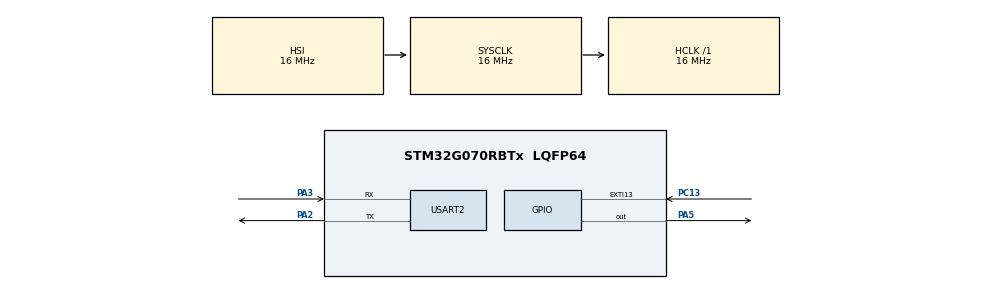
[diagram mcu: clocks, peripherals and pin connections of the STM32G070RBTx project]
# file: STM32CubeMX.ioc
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Dma.Request0=USART2_RX
Dma.USART2_RX.0.Direction=DMA_PERIPH_TO_MEMORY
Dma.USART2_RX.0.EventEnable=DISABLE
Dma.USART2_RX.0.Instance=DMA1_Channel1
Dma.USART2_RX.0.MemDataAlignment=DMA_MDATAALIGN_BYTE
Dma.USART2_RX.0.MemInc=DMA_MINC_ENABLE
Dma.USART2_RX.0.Mode=DMA_CIRCULAR
Dma.USART2_RX.0.PeriphDataAlignment=DMA_PDATAALIGN_BYTE
Dma.USART2_RX.0.PeriphInc=DMA_PINC_DISABLE
Dma.USART2_RX.0.Polarity=HAL_DMAMUX_REQ_GEN_RISING
Dma.USART2_RX.0.Priority=DMA_PRIORITY_LOW
Dma.USART2_RX.0.RequestNumber=1
Dma.USART2_RX.0.SignalID=NONE
Dma.USART2_RX.0.SyncEnable=DISABLE
Dma.USART2_RX.0.SyncPolarity=HAL_DMAMUX_SYNC_NO_EVENT
Dma.USART2_RX.0.SyncRequestNumber=1
Dma.USART2_RX.0.SyncSignalID=NONE
Mcu.Family=STM32G0
Mcu.Name=STM32G070RBTx
Mcu.Package=LQFP64
NVIC.DMA1_Channel1_IRQn=true\:0\:0\:false\:false\:true\:false\:true\:true
NVIC.EXTI4_15_IRQn=true\:1\:0\:true\:false\:true\:true\:true\:true
NVIC.USART2_IRQn=true\:2\:0\:true\:false\:true\:true\:true\:true
PA2.Mode=Asynchronous
PA2.Signal=USART2_TX
PA3.Mode=Asynchronous
PA3.Signal=USART2_RX
PA5.Signal=GPIO_Output
PC13.GPIO_ModeDefaultEXTI=GPIO_MODE_IT_FALLING
PC13.GPIO_PuPd=GPIO_PULLUP
PC13.Signal=GPXTI13
PF0-OSC_IN\ (PF0).Mode=HSE-External-Oscillator
PF0-OSC_IN\ (PF0).Signal=RCC_OSC_IN
PF1-OSC_OUT\ (PF1).Mode=HSE-External-Oscillator
PF1-OSC_OUT\ (PF1).Signal=RCC_OSC_OUT
ProjectManager.HeapSize=0x200
ProjectManager.StackSize=0x400
ProjectManager.TargetToolchain=MDK-ARM V5
RCC.AHBFreq_Value=16000000
RCC.CortexFreq_Value=16000000
RCC.EXTERNAL_CLOCK_VALUE=48000
RCC.HCLKFreq_Value=16000000
RCC.HSE_VALUE=8000000
RCC.HSI_VALUE=16000000
RCC.LSE_VALUE=32768
RCC.SYSCLKFreq_VALUE=16000000
RCC.VCOOutputFreq_Value=128000000
USART2.VirtualMode-Asynchronous=VM_ASYNC
board=custom

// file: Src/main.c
/* USER CODE BEGIN Header */
/**
  ******************************************************************************
  * @file           : main.c
  * @brief          : Main program body
  ******************************************************************************
  * @attention
  *
  * Copyright (c) 2026 STMicroelectronics.
  * All rights reserved.
  *
  * This software is licensed under terms that can be found in the LICENSE file
  * in the root directory of this software component.
  * If no LICENSE file comes with this software, it is provided AS-IS.
  *
  ******************************************************************************
  */
/* USER CODE END Header */
#include "main.h"
#include "dma.h"
#include "usart.h"
#include "gpio.h"

/* USER CODE BEGIN Includes */
#include <stdio.h>

/* USER CODE END Includes */

/* USER CODE BEGIN PV */
typedef enum{
	TASK_IDLE = 0,
	TASK_RUNNING
}TaskState;

uint8_t i = 0;
uint8_t RxBuffer[10];

TaskState keyTaskState = TASK_IDLE;
uint8_t keyBlinkCount = 0;
uint32_t keyLastToggleTick = 0;

TaskState uartTaskState = TASK_IDLE;
uint8_t uartBlinkCount = 0;
uint32_t uartLastToggleTick = 0;
/* USER CODE END PV */

void SystemClock_Config(void);

int main(void)
{

  /* MCU Configuration--------------------------------------------------------*/

  /* Reset of all peripherals, Initializes the Flash interface and the Systick. */
  HAL_Init();

  /* Configure the system clock */
  SystemClock_Config();

  /* Initialize all configured peripherals */
  MX_GPIO_Init();
  MX_DMA_Init();
  MX_USART2_UART_Init();
  /* USER CODE BEGIN 2 */
	HAL_UART_Receive_IT(&huart2, (uint8_t *)&RxBuffer, 1);
	HAL_GPIO_WritePin(GPIOA, GPIO_PIN_5, GPIO_PIN_SET);

  /* USER CODE END 2 */

  /* Infinite loop */
  while (1)
  {

    /* USER CODE BEGIN 3 */
		uint32_t now = HAL_GetTick();

		if (keyTaskState == TASK_RUNNING)
		{
			if (now - keyLastToggleTick >= 50)
			{
				HAL_GPIO_TogglePin(GPIOA, GPIO_PIN_5);
				keyLastToggleTick = now;
				keyBlinkCount--;
				if (keyBlinkCount == 0)
				{
					keyTaskState = TASK_IDLE;
					HAL_GPIO_WritePin(GPIOA, GPIO_PIN_5, GPIO_PIN_SET);
				}
			}
		}

		if (uartTaskState == TASK_RUNNING)
		{
			if (now - uartLastToggleTick >= 500)
			{
				HAL_GPIO_TogglePin(GPIOA, GPIO_PIN_5);
				uartLastToggleTick = now;
				uartBlinkCount--;
				if (uartBlinkCount == 0)
				{
					uartTaskState = TASK_IDLE;
					HAL_GPIO_WritePin(GPIOA, GPIO_PIN_5, GPIO_PIN_SET);
				}
			}
		}
  }
  /* USER CODE END 3 */
}

void SystemClock_Config(void)
{
  RCC_OscInitTypeDef RCC_OscInitStruct = {0};
  RCC_ClkInitTypeDef RCC_ClkInitStruct = {0};

  /** Configure the main internal regulator output voltage
  */
  HAL_PWREx_ControlVoltageScaling(PWR_REGULATOR_VOLTAGE_SCALE1);

  /** Initializes the RCC Oscillators according to the specified parameters
  * in the RCC_OscInitTypeDef structure.
  */
  RCC_OscInitStruct.OscillatorType = RCC_OSCILLATORTYPE_HSI;
  RCC_OscInitStruct.HSIState = RCC_HSI_ON;
  RCC_OscInitStruct.HSIDiv = RCC_HSI_DIV1;
  RCC_OscInitStruct.HSICalibrationValue = RCC_HSICALIBRATION_DEFAULT;
  RCC_OscInitStruct.PLL.PLLState = RCC_PLL_NONE;
  if (HAL_RCC_OscConfig(&RCC_OscInitStruct) != HAL_OK)
  {
    Error_Handler();
  }

  /** Initializes the CPU, AHB and APB buses clocks
  */
  RCC_ClkInitStruct.ClockType = RCC_CLOCKTYPE_HCLK|RCC_CLOCKTYPE_SYSCLK
                              |RCC_CLOCKTYPE_PCLK1;
  RCC_ClkInitStruct.SYSCLKSource = RCC_SYSCLKSOURCE_HSI;
  RCC_ClkInitStruct.AHBCLKDivider = RCC_SYSCLK_DIV1;
  RCC_ClkInitStruct.APB1CLKDivider = RCC_HCLK_DIV1;

  if (HAL_RCC_ClockConfig(&RCC_ClkInitStruct, FLASH_LATENCY_0) != HAL_OK)
  {
    Error_Handler();
  }
}

/* USER CODE BEGIN 4 */
void HAL_GPIO_EXTI_Falling_Callback(uint16_t GPIO_Pin)
{
  if(GPIO_Pin == GPIO_PIN_13)
  {
		keyTaskState = TASK_RUNNING;
		keyBlinkCount = 10;
		keyLastToggleTick = HAL_GetTick();
  }
}

void HAL_UART_RxCpltCallback(UART_HandleTypeDef *huart)
{
	HAL_UART_Transmit(huart, (uint8_t *)&RxBuffer, 1, HAL_MAX_DELAY);
	uartTaskState = TASK_RUNNING;
	uartBlinkCount = 10;
	uartLastToggleTick = HAL_GetTick();

	HAL_UART_Receive_IT(huart, (uint8_t *)&RxBuffer, 1);
}
/* USER CODE END 4 */

void Error_Handler(void)
{
  __disable_irq();
  while (1)
  {
  }
}
